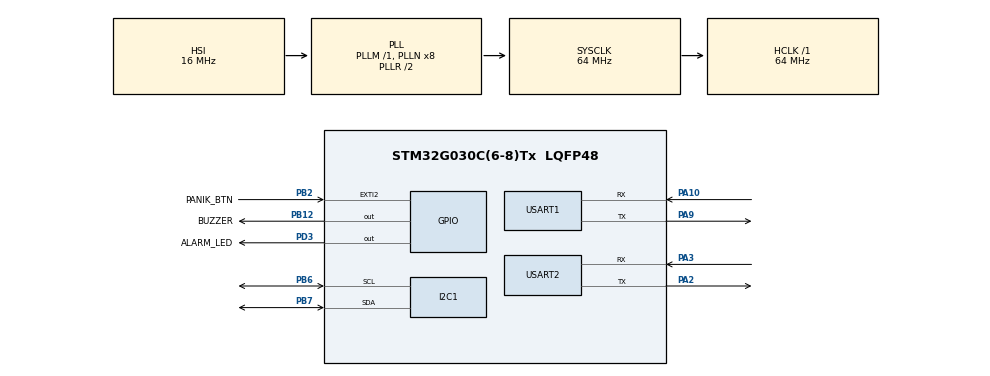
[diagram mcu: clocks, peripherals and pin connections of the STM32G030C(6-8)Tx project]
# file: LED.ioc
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I2C1.Timing=0x10B17DB5
Mcu.Family=STM32G0
Mcu.Name=STM32G030C(6-8)Tx
Mcu.Package=LQFP48
NVIC.EXTI2_3_IRQn=true\:0\:0\:false\:false\:true\:true\:true\:true
NVIC.USART2_IRQn=true\:0\:0\:false\:false\:true\:true\:true\:true
PA10.Mode=Asynchronous
PA10.Signal=USART1_RX
PA2.Mode=Asynchronous
PA2.Signal=USART2_TX
PA3.Mode=Asynchronous
PA3.Signal=USART2_RX
PA9.Mode=Asynchronous
PA9.Signal=USART1_TX
PB12.GPIO_Label=BUZZER
PB12.Signal=GPIO_Output
PB2.GPIO_Label=PANIK_BTN
PB2.Signal=GPXTI2
PB6.Mode=I2C
PB6.Signal=I2C1_SCL
PB7.Mode=I2C
PB7.Signal=I2C1_SDA
PD3.GPIO_Label=ALARM_LED
PD3.Signal=GPIO_Output
PF0-OSC_IN\ (PF0).Mode=HSE-External-Oscillator
PF0-OSC_IN\ (PF0).Signal=RCC_OSC_IN
PF1-OSC_OUT\ (PF1).Mode=HSE-External-Oscillator
PF1-OSC_OUT\ (PF1).Signal=RCC_OSC_OUT
ProjectManager.HeapSize=0x200
ProjectManager.StackSize=0x400
ProjectManager.TargetToolchain=STM32CubeIDE
RCC.ADCFreq_Value=64000000
RCC.AHBFreq_Value=64000000
RCC.CortexFreq_Value=64000000
RCC.EXTERNAL_CLOCK_VALUE=12288000
RCC.HCLKFreq_Value=64000000
RCC.HSE_VALUE=8000000
RCC.HSI_VALUE=16000000
RCC.LSE_VALUE=32768
RCC.SYSCLKFreq_VALUE=64000000
RCC.SYSCLKSource=RCC_SYSCLKSOURCE_PLLCLK
RCC.VCOOutputFreq_Value=128000000
USART1.VirtualMode-Asynchronous=VM_ASYNC
USART2.VirtualMode-Asynchronous=VM_ASYNC
board=custom

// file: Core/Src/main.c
/* USER CODE BEGIN Header */
/**
  ******************************************************************************
  * @file           : main.c
  * @brief          : Main program body
  ******************************************************************************
  * @attention
  *
  * Copyright (c) 2025 STMicroelectronics.
  * All rights reserved.
  *
  * This software is licensed under terms that can be found in the LICENSE file
  * in the root directory of this software component.
  * If no LICENSE file comes with this software, it is provided AS-IS.
  *
  ******************************************************************************
  */
/* USER CODE END Header */
#include "main.h"

/* USER CODE BEGIN Includes */
#include "lis2dw12_reg.h"
#include <string.h>
#include <stdio.h>
#include <math.h>
#include <stdlib.h> // <--- BUNU EKLE (abs fonksiyonu için)
/* USER CODE END Includes */

I2C_HandleTypeDef hi2c1;

UART_HandleTypeDef huart1;
UART_HandleTypeDef huart2;

/* USER CODE BEGIN PV */
static int16_t data_raw_acceleration[3];
static float acceleration_mg[3];
static uint8_t whoamI, rst;
stmdev_ctx_t dev_ctx;
volatile uint8_t acil_durum_var = 0; // Interrupt ile ana döngü haberleşecek
volatile uint8_t alarm_tipi = 0;
// Sensöre Yazma Fonksiyonu
static int32_t platform_write(void *handle, uint8_t reg, const uint8_t *bufp, uint16_t len)
{
  HAL_I2C_Mem_Write(handle, LIS2DW12_I2C_ADD_H, reg, I2C_MEMADD_SIZE_8BIT, (uint8_t*) bufp, len, 1000);
  return 0;
}

// Sensörden Okuma Fonksiyonu
static int32_t platform_read(void *handle, uint8_t reg, uint8_t *bufp, uint16_t len)
{
  HAL_I2C_Mem_Read(handle, LIS2DW12_I2C_ADD_H, reg, I2C_MEMADD_SIZE_8BIT, bufp, len, 1000);
  return 0;
}
/* USER CODE END PV */

void SystemClock_Config(void);
static void MX_GPIO_Init(void);
static void MX_I2C1_Init(void);
static void MX_USART1_UART_Init(void);
static void MX_USART2_UART_Init(void);

int main(void)
{

  /* MCU Configuration--------------------------------------------------------*/

  /* Reset of all peripherals, Initializes the Flash interface and the Systick. */
  HAL_Init();

  /* Configure the system clock */
  SystemClock_Config();

  /* Initialize all configured peripherals */
  MX_GPIO_Init();
  MX_I2C1_Init();
  MX_USART1_UART_Init();
  MX_USART2_UART_Init();
  /* USER CODE BEGIN 2 */
  // Sensör arayüzünü tanımla
   dev_ctx.write_reg = platform_write;
   dev_ctx.read_reg = platform_read;
   dev_ctx.handle = &hi2c1;

   // Sensör ID Kontrolü
   lis2dw12_device_id_get(&dev_ctx, &whoamI);

   if (whoamI == LIS2DW12_ID) // Sensör bulunduysa (ID = 0x44)
   {
     // Sensörü Resetle
     lis2dw12_reset_set(&dev_ctx, PROPERTY_ENABLE);
     do { lis2dw12_reset_get(&dev_ctx, &rst); } while (rst);

     // Ayarlar: 2g ölçüm aralığı, Düşük gürültü modu, 50Hz hız
     lis2dw12_block_data_update_set(&dev_ctx, PROPERTY_ENABLE);
     lis2dw12_full_scale_set(&dev_ctx, LIS2DW12_2g);
     lis2dw12_power_mode_set(&dev_ctx, LIS2DW12_CONT_LOW_PWR_LOW_NOISE_12bit);
     lis2dw12_data_rate_set(&dev_ctx, LIS2DW12_XL_ODR_50Hz);
   }
  /* USER CODE END 2 */

  /* Infinite loop */
  /* USER CODE BEGIN WHILE */
   while (1)
   {
     // --- 1. SENSÖR OKUMA (Sadece alarm yoksa oku) ---
     if (alarm_tipi == 0) {
         uint8_t reg;
         lis2dw12_flag_data_ready_get(&dev_ctx, &reg);
         if (reg)
         {
           memset(data_raw_acceleration, 0x00, 3 * sizeof(int16_t));
           lis2dw12_acceleration_raw_get(&dev_ctx, data_raw_acceleration);

           acceleration_mg[0] = lis2dw12_from_fs2_to_mg(data_raw_acceleration[0]);
           acceleration_mg[1] = lis2dw12_from_fs2_to_mg(data_raw_acceleration[1]);
           acceleration_mg[2] = lis2dw12_from_fs2_to_mg(data_raw_acceleration[2]);

           int toplam_ivme = abs((int)acceleration_mg[0]) + abs((int)acceleration_mg[1]) + abs((int)acceleration_mg[2]);

           if (toplam_ivme > 1900) // Eşik Değer
           {
               alarm_tipi = 1; // Düşme Tespit Edildi
           }
         }
     }

     // --- 2. ALARM YÖNETİMİ ---
     if (alarm_tipi > 0)
     {
         // Görsel/İşitsel Uyarı
         for(int i = 0; i < 4; i++)
         {
             HAL_GPIO_WritePin(ALARM_LED_GPIO_Port, ALARM_LED_Pin, GPIO_PIN_SET);
             HAL_GPIO_WritePin(BUZZER_GPIO_Port, BUZZER_Pin, GPIO_PIN_SET);
             HAL_Delay(80);
             HAL_GPIO_WritePin(ALARM_LED_GPIO_Port, ALARM_LED_Pin, GPIO_PIN_RESET);
             HAL_GPIO_WritePin(BUZZER_GPIO_Port, BUZZER_Pin, GPIO_PIN_RESET);
             HAL_Delay(80);
         }

         // ESP32'ye Mesaj Gönder
         char msg[10];

         if (alarm_tipi == 1) {
             sprintf(msg, "DUSME\n"); // Düşme ise
         } else if (alarm_tipi == 2) {
             sprintf(msg, "BUTON\n"); // Buton ise
         }

         HAL_UART_Transmit(&huart2, (uint8_t*)msg, strlen(msg), 100); // ESP32'ye
         HAL_UART_Transmit(&huart1, (uint8_t*)msg, strlen(msg), 100); // Bilgisayara

         HAL_Delay(1000); // Spam engelleme
         alarm_tipi = 0;  // Sistemi sıfırla
     }

     HAL_Delay(20);
   }
  /* USER CODE END 3 */
}

void SystemClock_Config(void)
{
  RCC_OscInitTypeDef RCC_OscInitStruct = {0};
  RCC_ClkInitTypeDef RCC_ClkInitStruct = {0};

  /** Configure the main internal regulator output voltage
  */
  HAL_PWREx_ControlVoltageScaling(PWR_REGULATOR_VOLTAGE_SCALE1);

  /** Initializes the RCC Oscillators according to the specified parameters
  * in the RCC_OscInitTypeDef structure.
  */
  RCC_OscInitStruct.OscillatorType = RCC_OSCILLATORTYPE_HSI;
  RCC_OscInitStruct.HSIState = RCC_HSI_ON;
  RCC_OscInitStruct.HSIDiv = RCC_HSI_DIV1;
  RCC_OscInitStruct.HSICalibrationValue = RCC_HSICALIBRATION_DEFAULT;
  RCC_OscInitStruct.PLL.PLLState = RCC_PLL_ON;
  RCC_OscInitStruct.PLL.PLLSource = RCC_PLLSOURCE_HSI;
  RCC_OscInitStruct.PLL.PLLM = RCC_PLLM_DIV1;
  RCC_OscInitStruct.PLL.PLLN = 8;
  RCC_OscInitStruct.PLL.PLLP = RCC_PLLP_DIV2;
  RCC_OscInitStruct.PLL.PLLR = RCC_PLLR_DIV2;
  if (HAL_RCC_OscConfig(&RCC_OscInitStruct) != HAL_OK)
  {
    Error_Handler();
  }

  /** Initializes the CPU, AHB and APB buses clocks
  */
  RCC_ClkInitStruct.ClockType = RCC_CLOCKTYPE_HCLK|RCC_CLOCKTYPE_SYSCLK
                              |RCC_CLOCKTYPE_PCLK1;
  RCC_ClkInitStruct.SYSCLKSource = RCC_SYSCLKSOURCE_PLLCLK;
  RCC_ClkInitStruct.AHBCLKDivider = RCC_SYSCLK_DIV1;
  RCC_ClkInitStruct.APB1CLKDivider = RCC_HCLK_DIV1;

  if (HAL_RCC_ClockConfig(&RCC_ClkInitStruct, FLASH_LATENCY_2) != HAL_OK)
  {
    Error_Handler();
  }
}

static void MX_I2C1_Init(void)
{

  hi2c1.Instance = I2C1;
  hi2c1.Init.Timing = 0x10B17DB5;
  hi2c1.Init.OwnAddress1 = 0;
  hi2c1.Init.AddressingMode = I2C_ADDRESSINGMODE_7BIT;
  hi2c1.Init.DualAddressMode = I2C_DUALADDRESS_DISABLE;
  hi2c1.Init.OwnAddress2 = 0;
  hi2c1.Init.OwnAddress2Masks = I2C_OA2_NOMASK;
  hi2c1.Init.GeneralCallMode = I2C_GENERALCALL_DISABLE;
  hi2c1.Init.NoStretchMode = I2C_NOSTRETCH_DISABLE;
  if (HAL_I2C_Init(&hi2c1) != HAL_OK)
  {
    Error_Handler();
  }

  /** Configure Analogue filter
  */
  if (HAL_I2CEx_ConfigAnalogFilter(&hi2c1, I2C_ANALOGFILTER_ENABLE) != HAL_OK)
  {
    Error_Handler();
  }

  /** Configure Digital filter
  */
  if (HAL_I2CEx_ConfigDigitalFilter(&hi2c1, 0) != HAL_OK)
  {
    Error_Handler();
  }

}

static void MX_USART1_UART_Init(void)
{

  huart1.Instance = USART1;
  huart1.Init.BaudRate = 115200;
  huart1.Init.WordLength = UART_WORDLENGTH_8B;
  huart1.Init.StopBits = UART_STOPBITS_1;
  huart1.Init.Parity = UART_PARITY_NONE;
  huart1.Init.Mode = UART_MODE_TX_RX;
  huart1.Init.HwFlowCtl = UART_HWCONTROL_NONE;
  huart1.Init.OverSampling = UART_OVERSAMPLING_16;
  huart1.Init.OneBitSampling = UART_ONE_BIT_SAMPLE_DISABLE;
  huart1.Init.ClockPrescaler = UART_PRESCALER_DIV1;
  huart1.AdvancedInit.AdvFeatureInit = UART_ADVFEATURE_NO_INIT;
  if (HAL_UART_Init(&huart1) != HAL_OK)
  {
    Error_Handler();
  }
  if (HAL_UARTEx_SetTxFifoThreshold(&huart1, UART_TXFIFO_THRESHOLD_1_8) != HAL_OK)
  {
    Error_Handler();
  }
  if (HAL_UARTEx_SetRxFifoThreshold(&huart1, UART_RXFIFO_THRESHOLD_1_8) != HAL_OK)
  {
    Error_Handler();
  }
  if (HAL_UARTEx_DisableFifoMode(&huart1) != HAL_OK)
  {
    Error_Handler();
  }

}

static void MX_USART2_UART_Init(void)
{

  huart2.Instance = USART2;
  huart2.Init.BaudRate = 115200;
  huart2.Init.WordLength = UART_WORDLENGTH_8B;
  huart2.Init.StopBits = UART_STOPBITS_1;
  huart2.Init.Parity = UART_PARITY_NONE;
  huart2.Init.Mode = UART_MODE_TX_RX;
  huart2.Init.HwFlowCtl = UART_HWCONTROL_NONE;
  huart2.Init.OverSampling = UART_OVERSAMPLING_16;
  huart2.Init.OneBitSampling = UART_ONE_BIT_SAMPLE_DISABLE;
  huart2.Init.ClockPrescaler = UART_PRESCALER_DIV1;
  huart2.AdvancedInit.AdvFeatureInit = UART_ADVFEATURE_NO_INIT;
  if (HAL_UART_Init(&huart2) != HAL_OK)
  {
    Error_Handler();
  }

}

static void MX_GPIO_Init(void)
{
  GPIO_InitTypeDef GPIO_InitStruct = {0};

  /* GPIO Ports Clock Enable */
  __HAL_RCC_GPIOF_CLK_ENABLE();
  __HAL_RCC_GPIOA_CLK_ENABLE();
  __HAL_RCC_GPIOB_CLK_ENABLE();
  __HAL_RCC_GPIOD_CLK_ENABLE();

  /*Configure GPIO pin Output Level */
  HAL_GPIO_WritePin(BUZZER_GPIO_Port, BUZZER_Pin, GPIO_PIN_RESET);

  /*Configure GPIO pin Output Level */
  HAL_GPIO_WritePin(ALARM_LED_GPIO_Port, ALARM_LED_Pin, GPIO_PIN_RESET);

  /* --- DÜZELTME BURADA --- */
  /*Configure GPIO pin : PANIK_BTN_Pin (PB2) */
  GPIO_InitStruct.Pin = PANIK_BTN_Pin;
  // HATA: GPIO_MODE_IT_RISING idi -> DOĞRUSU: GPIO_MODE_IT_FALLING
  GPIO_InitStruct.Mode = GPIO_MODE_IT_FALLING;
  // ÖNERİ: GPIO_NOPULL yerine GPIO_PULLUP daha kararlı çalışır
  GPIO_InitStruct.Pull = GPIO_PULLUP;
  HAL_GPIO_Init(PANIK_BTN_GPIO_Port, &GPIO_InitStruct);

  /*Configure GPIO pin : BUZZER_Pin */
  GPIO_InitStruct.Pin = BUZZER_Pin;
  GPIO_InitStruct.Mode = GPIO_MODE_OUTPUT_PP;
  GPIO_InitStruct.Pull = GPIO_NOPULL;
  GPIO_InitStruct.Speed = GPIO_SPEED_FREQ_LOW;
  HAL_GPIO_Init(BUZZER_GPIO_Port, &GPIO_InitStruct);

  /*Configure GPIO pin : ALARM_LED_Pin */
  GPIO_InitStruct.Pin = ALARM_LED_Pin;
  GPIO_InitStruct.Mode = GPIO_MODE_OUTPUT_PP;
  GPIO_InitStruct.Pull = GPIO_NOPULL;
  GPIO_InitStruct.Speed = GPIO_SPEED_FREQ_LOW;
  HAL_GPIO_Init(ALARM_LED_GPIO_Port, &GPIO_InitStruct);

  /* EXTI interrupt init*/
  HAL_NVIC_SetPriority(EXTI2_3_IRQn, 0, 0);
  HAL_NVIC_EnableIRQ(EXTI2_3_IRQn);
}

/* USER CODE BEGIN 4 */
void HAL_GPIO_EXTI_Falling_Callback(uint16_t GPIO_Pin)
{
  if(GPIO_Pin == PANIK_BTN_Pin) // Butona basıldı!
  {
    // Eğer hali hazırda bir alarm yoksa buton alarmını set et
    if(alarm_tipi == 0) {
        alarm_tipi = 2;
    }
  }
}
/* USER CODE END 4 */

void Error_Handler(void)
{
  __disable_irq();
  while (1)
  {
  }
}
